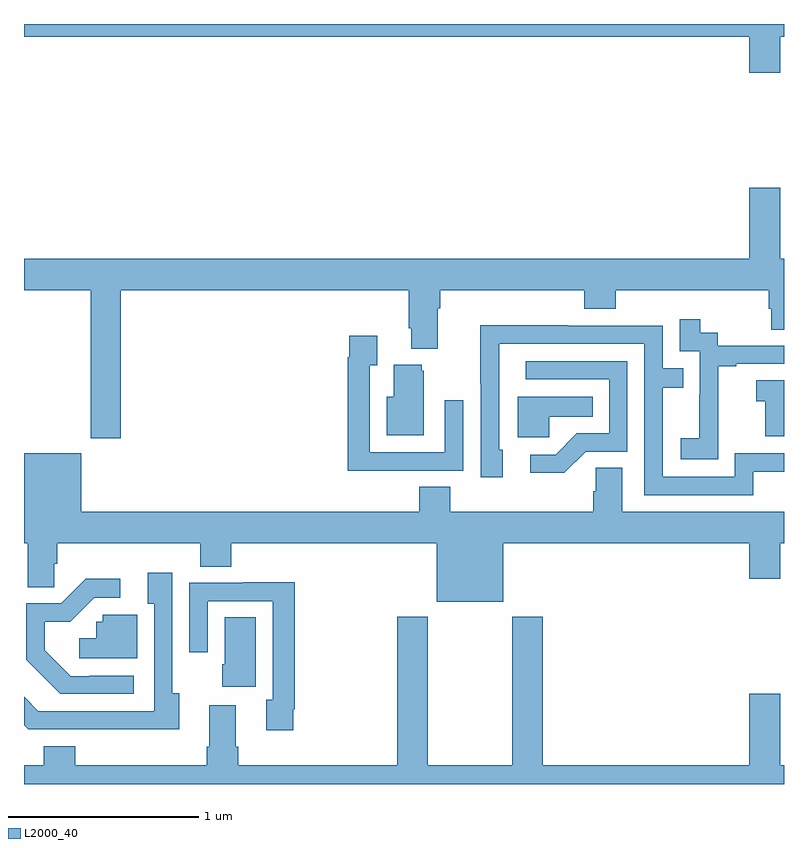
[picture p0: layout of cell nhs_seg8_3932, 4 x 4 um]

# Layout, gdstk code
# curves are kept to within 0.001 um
import gdstk
lib = gdstk.Library(unit=1e-6, precision=1e-09)
def P(c, l, *ps):  # polygons
    for p in ps: c.add(gdstk.Polygon(p, *l))
L2000_40 = (2000, 40)

nhs_seg8_3932 = lib.new_cell('nhs_seg8_3932')
P(nhs_seg8_3932, L2000_40, [(356.98,1117.832),(357,1117.832),(357,1117.9),(353,1117.9),(353,1117.832),(356.816,1117.832),(356.816,1117.644),(356.98,1117.644)],
  [(353.51,1116.5),(355.025,1116.5),(355.025,1116.298),(355.037,1116.298),(355.037,1116.191),(355.177,1116.191),(355.177,1116.404),(355.19,1116.404),(355.19,1116.5),(355.949,1116.5),(355.949,1116.401),(356.114,1116.401),(356.114,1116.5),(356.921,1116.5),(356.921,1116.402),(356.933,1116.402),(356.933,1116.292),(357,1116.292),(357,1116.664),(356.98,1116.664),(356.98,1117.039),(356.816,1117.039),(356.816,1116.664),(353,1116.664),(353,1116.5),(353.35,1116.5),(353.35,1115.721),(353.51,1115.721)],
  [(356.655,1115.815),(356.654,1115.815),(356.654,1116.099),(356.749,1116.099),(356.749,1116.111),(357,1116.111),(357,1116.207),(356.652,1116.207),(356.652,1116.276),(356.56,1116.276),(356.56,1116.346),(356.451,1116.346),(356.451,1116.177),(356.556,1116.177),(356.556,1115.948),(356.555,1115.948),(356.555,1115.719),(356.457,1115.719),(356.457,1115.609),(356.655,1115.609)],
  [(356.839,1115.544),(357,1115.544),(357,1115.64),(356.742,1115.64),(356.742,1115.517),(356.361,1115.517),(356.361,1115.986),(356.471,1115.986),(356.471,1116.087),(356.361,1116.087),(356.361,1116.312),(355.865,1116.312),(355.865,1116.314),(355.402,1116.314),(355.402,1116.007),(355.404,1116.007),(355.404,1115.514),(355.519,1115.514),(355.519,1115.658),(355.5,1115.658),(355.5,1115.983),(355.501,1115.983),(355.501,1116.216),(356.265,1116.216),(356.265,1115.421),(356.839,1115.421)],
  [(354.995,1115.55),(355.311,1115.55),(355.311,1115.92),(355.215,1115.92),(355.215,1115.646),(354.819,1115.646),(354.819,1116.103),(354.859,1116.103),(354.859,1116.259),(354.711,1116.259),(354.711,1116.146),(354.703,1116.146),(354.703,1115.549),(354.995,1115.549)],
  [(355.956,1115.649),(356.175,1115.649),(356.175,1116.126),(355.641,1116.126),(355.641,1116.03),(356.079,1116.03),(356.079,1115.745),(355.91,1115.745),(355.799,1115.634),(355.665,1115.634),(355.665,1115.537),(355.843,1115.537)],
  [(355.105,1116.075),(355.094,1116.075),(355.094,1116.106),(354.947,1116.106),(354.947,1115.938),(354.908,1115.938),(354.908,1115.735),(355.105,1115.735)],
  [(357,1116.025),(356.853,1116.025),(356.853,1115.915),(356.902,1115.915),(356.902,1115.73),(357,1115.73)],
  [(355.764,1115.834),(355.994,1115.834),(355.994,1115.938),(355.598,1115.938),(355.598,1115.726),(355.764,1115.726)],
  [(355.522,1115.168),(356.816,1115.168),(356.816,1114.98),(356.98,1114.98),(356.98,1115.168),(357,1115.168),(357,1115.332),(356.149,1115.332),(356.149,1115.564),(356.01,1115.564),(356.01,1115.441),(355.997,1115.441),(355.997,1115.332),(355.244,1115.332),(355.244,1115.465),(355.079,1115.465),(355.079,1115.332),(353.302,1115.332),(353.302,1115.641),(353,1115.641),(353,1115.168),(353.021,1115.168),(353.021,1114.936),(353.159,1114.936),(353.159,1115.058),(353.174,1115.058),(353.174,1115.168),(353.927,1115.168),(353.927,1115.044),(354.092,1115.044),(354.092,1115.168),(355.172,1115.168),(355.172,1114.859),(355.522,1114.859)],
  [(353.818,1114.378),(353.781,1114.378),(353.781,1115.011),(353.651,1115.011),(353.651,1114.85),(353.685,1114.85),(353.685,1114.284),(353.076,1114.284),(353,1114.36),(353,1114.21),(353.022,1114.188),(353.818,1114.187)],
  [(353.578,1114.47),(353.347,1114.47),(353.347,1114.467),(353.247,1114.467),(353.11,1114.604),(353.11,1114.754),(353.243,1114.754),(353.37,1114.881),(353.506,1114.881),(353.506,1114.979),(353.324,1114.979),(353.196,1114.851),(353.013,1114.851),(353.013,1114.553),(353.192,1114.374),(353.578,1114.374)],
  [(354.418,1114.294),(354.425,1114.294),(354.425,1114.963),(354.155,1114.963),(354.155,1114.959),(353.871,1114.959),(353.871,1114.593),(353.967,1114.593),(353.967,1114.863),(354.309,1114.863),(354.309,1114.343),(354.275,1114.343),(354.275,1114.182),(354.418,1114.182)],
  [(353.596,1114.791),(353.415,1114.791),(353.415,1114.755),(353.379,1114.755),(353.379,1114.666),(353.292,1114.666),(353.292,1114.563),(353.596,1114.563)],
  [(357,1114),(356.98,1114),(356.98,1114.375),(356.816,1114.375),(356.816,1114),(355.73,1114),(355.73,1114.78),(355.57,1114.78),(355.57,1114),(355.125,1114),(355.125,1114.78),(354.965,1114.78),(354.965,1114),(354.128,1114),(354.128,1114.096),(354.115,1114.096),(354.115,1114.315),(353.975,1114.315),(353.975,1114.096),(353.963,1114.096),(353.963,1114),(353.27,1114),(353.27,1114.099),(353.105,1114.099),(353.105,1114),(353,1114),(353,1113.9),(357,1113.9)],
  [(354.22,1114.777),(354.056,1114.777),(354.056,1114.53),(354.044,1114.53),(354.044,1114.412),(354.22,1114.412)])

lib.write_gds('nhs_seg8_3932.gds')
